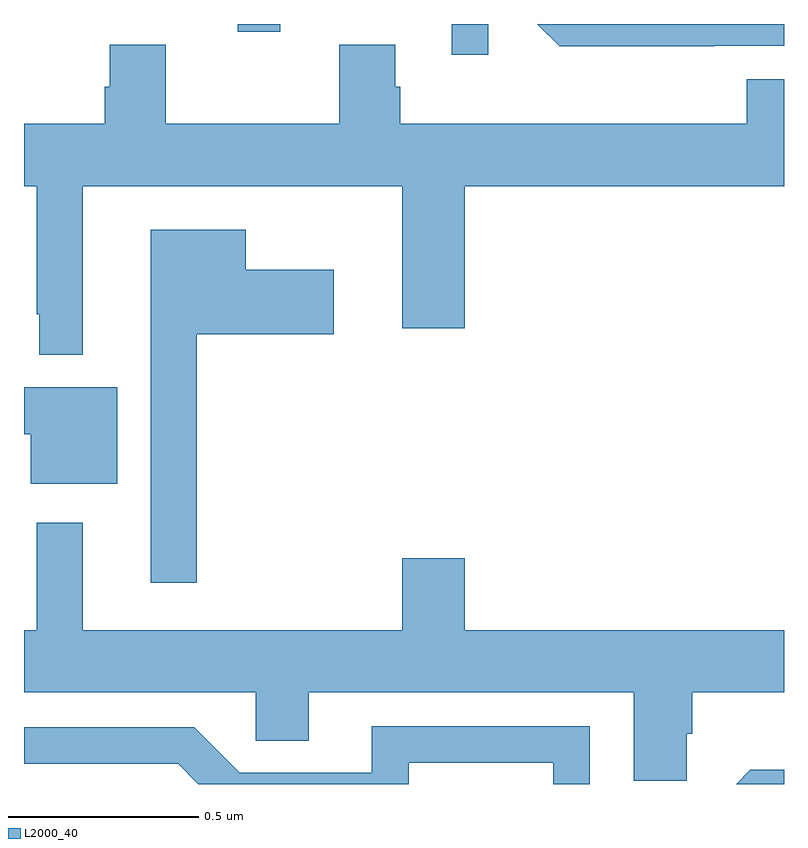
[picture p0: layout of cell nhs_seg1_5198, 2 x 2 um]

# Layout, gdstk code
import gdstk
lib = gdstk.Library(unit=1e-6, precision=1e-09)
def R(c, l, rs):  # rectangles x0, y0, x1, y1
    for r in rs: c.add(gdstk.rectangle(r[:2], r[2:], *l))
def P(c, l, *ps):  # polygons
    for p in ps: c.add(gdstk.Polygon(p, *l))
L2000_40 = (2000, 40)

nhs_seg1_5198 = lib.new_cell('nhs_seg1_5198')
R(nhs_seg1_5198, L2000_40, [(177.125,512.118,177.222,512.199), (176.563,512.178,176.674,512.199)])
P(nhs_seg1_5198, L2000_40, [(177.818,512.142),(178,512.142),(178,512.199),(177.351,512.199),(177.41,512.141),(177.818,512.141)],
  [(176.155,511.772),(176.996,511.772),(176.996,511.398),(177.16,511.398),(177.16,511.772),(178,511.772),(178,512.053),(177.902,512.053),(177.902,511.936),(176.99,511.936),(176.99,512.034),(176.977,512.034),(176.977,512.144),(176.83,512.144),(176.83,511.936),(176.373,511.936),(176.373,512.144),(176.225,512.144),(176.225,512.034),(176.213,512.034),(176.213,511.936),(176,511.936),(176,511.772),(176.034,511.772),(176.034,511.435),(176.04,511.435),(176.04,511.328),(176.155,511.328)],
  [(176.455,511.382),(176.815,511.382),(176.815,511.552),(176.584,511.552),(176.584,511.657),(176.333,511.657),(176.333,510.729),(176.455,510.729)],
  [(176.245,511.243),(176,511.243),(176,511.12),(176.018,511.12),(176.018,510.989),(176.245,510.989)],
  [(177.744,510.331),(177.758,510.331),(177.758,510.44),(178,510.44),(178,510.604),(177.16,510.604),(177.16,510.793),(176.996,510.793),(176.996,510.604),(176.155,510.604),(176.155,510.886),(176.034,510.886),(176.034,510.604),(176,510.604),(176,510.44),(176.61,510.44),(176.61,510.313),(176.749,510.313),(176.749,510.44),(177.605,510.44),(177.605,510.208),(177.744,510.208)],
  [(177.012,510.255),(177.393,510.255),(177.393,510.199),(177.489,510.199),(177.489,510.351),(176.915,510.351),(176.915,510.228),(176.568,510.228),(176.448,510.348),(176,510.348),(176,510.252),(176.406,510.252),(176.459,510.199),(177.012,510.199)],
  [(178,510.236),(177.911,510.236),(177.874,510.199),(178,510.199)])

lib.write_gds('nhs_seg1_5198.gds')
